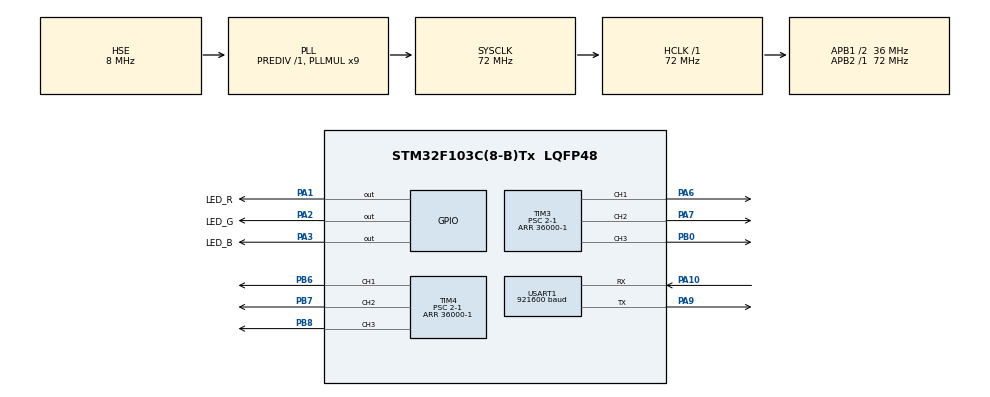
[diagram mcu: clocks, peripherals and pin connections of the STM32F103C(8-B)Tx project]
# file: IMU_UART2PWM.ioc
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Dma.Request0=USART1_RX
Dma.USART1_RX.0.Direction=DMA_PERIPH_TO_MEMORY
Dma.USART1_RX.0.Instance=DMA1_Channel5
Dma.USART1_RX.0.MemDataAlignment=DMA_MDATAALIGN_BYTE
Dma.USART1_RX.0.MemInc=DMA_MINC_ENABLE
Dma.USART1_RX.0.Mode=DMA_CIRCULAR
Dma.USART1_RX.0.PeriphDataAlignment=DMA_PDATAALIGN_BYTE
Dma.USART1_RX.0.PeriphInc=DMA_PINC_DISABLE
Dma.USART1_RX.0.Priority=DMA_PRIORITY_LOW
Mcu.Family=STM32F1
Mcu.Name=STM32F103C(8-B)Tx
Mcu.Package=LQFP48
NVIC.DMA1_Channel5_IRQn=true\:0\:0\:false\:false\:true\:false\:true\:true
NVIC.PriorityGroup=NVIC_PRIORITYGROUP_4
NVIC.TIM2_IRQn=true\:0\:0\:false\:false\:true\:true\:true\:true
PA1.GPIO_Label=LED_R
PA1.GPIO_Speed=GPIO_SPEED_FREQ_HIGH
PA1.PinState=GPIO_PIN_SET
PA1.Signal=GPIO_Output
PA10.Mode=Asynchronous
PA10.Signal=USART1_RX
PA13.Mode=Serial_Wire
PA13.Signal=SYS_JTMS-SWDIO
PA14.Mode=Serial_Wire
PA14.Signal=SYS_JTCK-SWCLK
PA2.GPIO_Label=LED_G
PA2.GPIO_Speed=GPIO_SPEED_FREQ_HIGH
PA2.PinState=GPIO_PIN_SET
PA2.Signal=GPIO_Output
PA3.GPIO_Label=LED_B
PA3.GPIO_Speed=GPIO_SPEED_FREQ_HIGH
PA3.PinState=GPIO_PIN_SET
PA3.Signal=GPIO_Output
PA6.Signal=S_TIM3_CH1
PA7.Signal=S_TIM3_CH2
PA9.Mode=Asynchronous
PA9.Signal=USART1_TX
PB0.Signal=S_TIM3_CH3
PB6.GPIO_ModeDefaultPP=GPIO_MODE_AF_PP
PB6.Signal=S_TIM4_CH1
PB7.Signal=S_TIM4_CH2
PB8.Signal=S_TIM4_CH3
PD0-OSC_IN.Mode=HSE-External-Oscillator
PD0-OSC_IN.Signal=RCC_OSC_IN
PD1-OSC_OUT.Mode=HSE-External-Oscillator
PD1-OSC_OUT.Signal=RCC_OSC_OUT
ProjectManager.HeapSize=0x200
ProjectManager.StackSize=0x400
ProjectManager.TargetToolchain=MDK-ARM V5.32
RCC.AHBFreq_Value=72000000
RCC.APB1CLKDivider=RCC_HCLK_DIV2
RCC.APB1Freq_Value=36000000
RCC.APB1TimFreq_Value=72000000
RCC.APB2Freq_Value=72000000
RCC.APB2TimFreq_Value=72000000
RCC.HCLKFreq_Value=72000000
RCC.PLLMUL=RCC_PLL_MUL9
RCC.PLLSourceVirtual=RCC_PLLSOURCE_HSE
RCC.SYSCLKFreq_VALUE=72000000
RCC.SYSCLKSource=RCC_SYSCLKSOURCE_PLLCLK
RCC.USBFreq_Value=72000000
SH.S_TIM3_CH1.0=TIM3_CH1,PWM Generation1 CH1
SH.S_TIM3_CH2.0=TIM3_CH2,PWM Generation2 CH2
SH.S_TIM3_CH3.0=TIM3_CH3,PWM Generation3 CH3
SH.S_TIM4_CH1.0=TIM4_CH1,PWM Generation1 CH1
SH.S_TIM4_CH2.0=TIM4_CH2,PWM Generation2 CH2
SH.S_TIM4_CH3.0=TIM4_CH3,PWM Generation3 CH3
TIM2.Period=1000-1
TIM2.Prescaler=72-1
TIM3.AutoReloadPreload=TIM_AUTORELOAD_PRELOAD_ENABLE
TIM3.Channel-PWM\ Generation1\ CH1=TIM_CHANNEL_1
TIM3.Channel-PWM\ Generation2\ CH2=TIM_CHANNEL_2
TIM3.Channel-PWM\ Generation3\ CH3=TIM_CHANNEL_3
TIM3.Period=36000-1
TIM3.Prescaler=2-1
TIM4.AutoReloadPreload=TIM_AUTORELOAD_PRELOAD_ENABLE
TIM4.Channel-PWM\ Generation1\ CH1=TIM_CHANNEL_1
TIM4.Channel-PWM\ Generation2\ CH2=TIM_CHANNEL_2
TIM4.Channel-PWM\ Generation3\ CH3=TIM_CHANNEL_3
TIM4.Period=36000-1
TIM4.Prescaler=2-1
USART1.BaudRate=921600
USART1.VirtualMode=VM_ASYNC
VP_TIM2_VS_ClockSourceINT.Mode=Internal
VP_TIM3_VS_ClockSourceINT.Mode=Internal
VP_TIM4_VS_ClockSourceINT.Mode=Internal
board=custom

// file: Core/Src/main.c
/* USER CODE BEGIN Header */
/**
 ******************************************************************************
 * @file           : main.c
 * @brief          : Main program body
 ******************************************************************************
 * @attention
 *
 * Copyright (c) 2026 STMicroelectronics.
 * All rights reserved.
 *
 * This software is licensed under terms that can be found in the LICENSE file
 * in the root directory of this software component.
 * If no LICENSE file comes with this software, it is provided AS-IS.
 *
 ******************************************************************************
 */
/* USER CODE END Header */
#include "main.h"
#include "dma.h"
#include "tim.h"
#include "usart.h"
#include "gpio.h"

/* USER CODE BEGIN Includes */
#include "imu_decode.h"
/* USER CODE END Includes */

/* USER CODE BEGIN PV */
#define RX_BUF_SIZE 1024     // ★ 512 -> 1024，1 ms 轮询下留足余量
uint8_t rx_buf[RX_BUF_SIZE]; // DMA 循环写入的缓冲区
uint16_t rx_read_pos = 0;    // ★ 已解码到的位置（上次解码结束处）

volatile uint32_t g_rx_lap = 0;     // ★ 环形缓冲走满一圈的次数
static uint32_t s_total_w_prev = 0; // ★ 上次轮询的绝对写入位置，用于发现溢出

imu_data_t g_imu = {0};            // 最新解出的一帧 IMU 数据
volatile uint8_t g_imu_ready = 0; // 新帧标志（1 = 有）
// LED状态
uint8_t LED_R_state = 0;
uint8_t LED_G_state = 1;
uint8_t LED_B_state = 0;
/* USER CODE END PV */

void SystemClock_Config(void);

int main(void)
{

  /* MCU Configuration--------------------------------------------------------*/

  /* Reset of all peripherals, Initializes the Flash interface and the Systick. */
  HAL_Init();

  /* Configure the system clock */
  SystemClock_Config();

  /* Initialize all configured peripherals */
  MX_GPIO_Init();
  MX_DMA_Init();
  MX_USART1_UART_Init();
  MX_TIM3_Init();
  MX_TIM2_Init();
  MX_TIM4_Init();
  /* USER CODE BEGIN 2 */
  HAL_TIM_Base_Start_IT(&htim2); // 开启定时器2
  // 开启PWM输出
  HAL_TIM_PWM_Start(&htim3, TIM_CHANNEL_1);
  HAL_TIM_PWM_Start(&htim3, TIM_CHANNEL_2);
  HAL_TIM_PWM_Start(&htim3, TIM_CHANNEL_3);

  HAL_TIM_PWM_Start(&htim4, TIM_CHANNEL_1);
  HAL_TIM_PWM_Start(&htim4, TIM_CHANNEL_2);
  HAL_TIM_PWM_Start(&htim4, TIM_CHANNEL_3);

  // 启动接收
  if (HAL_UART_Receive_DMA(&huart1, rx_buf, RX_BUF_SIZE) != HAL_OK)
  {
    Error_Handler();
  }
  /* USER CODE END 2 */

  /* Infinite loop */
  while (1)
  {

  }
}

void SystemClock_Config(void)
{
  RCC_OscInitTypeDef RCC_OscInitStruct = {0};
  RCC_ClkInitTypeDef RCC_ClkInitStruct = {0};

  /** Initializes the RCC Oscillators according to the specified parameters
  * in the RCC_OscInitTypeDef structure.
  */
  RCC_OscInitStruct.OscillatorType = RCC_OSCILLATORTYPE_HSE;
  RCC_OscInitStruct.HSEState = RCC_HSE_ON;
  RCC_OscInitStruct.HSEPredivValue = RCC_HSE_PREDIV_DIV1;
  RCC_OscInitStruct.HSIState = RCC_HSI_ON;
  RCC_OscInitStruct.PLL.PLLState = RCC_PLL_ON;
  RCC_OscInitStruct.PLL.PLLSource = RCC_PLLSOURCE_HSE;
  RCC_OscInitStruct.PLL.PLLMUL = RCC_PLL_MUL9;
  if (HAL_RCC_OscConfig(&RCC_OscInitStruct) != HAL_OK)
  {
    Error_Handler();
  }

  /** Initializes the CPU, AHB and APB buses clocks
  */
  RCC_ClkInitStruct.ClockType = RCC_CLOCKTYPE_HCLK|RCC_CLOCKTYPE_SYSCLK
                              |RCC_CLOCKTYPE_PCLK1|RCC_CLOCKTYPE_PCLK2;
  RCC_ClkInitStruct.SYSCLKSource = RCC_SYSCLKSOURCE_PLLCLK;
  RCC_ClkInitStruct.AHBCLKDivider = RCC_SYSCLK_DIV1;
  RCC_ClkInitStruct.APB1CLKDivider = RCC_HCLK_DIV2;
  RCC_ClkInitStruct.APB2CLKDivider = RCC_HCLK_DIV1;

  if (HAL_RCC_ClockConfig(&RCC_ClkInitStruct, FLASH_LATENCY_2) != HAL_OK)
  {
    Error_Handler();
  }
}

/* USER CODE BEGIN 4 */
imu_data_t imu_data = {0};
uint16_t rx_ok_n = 0;

// 循环模式下 DMA 每走满一整圈触发一次
void HAL_UART_RxCpltCallback(UART_HandleTypeDef *huart)
{
  if (huart->Instance == USART1)
  {
    g_rx_lap++;
  }
}
// LED处理函数
void LED_Process(){
  rx_ok_n = get_receive_ok_count();
  clear_receive_count();
  if (LED_B_state == 0)
  {
    HAL_GPIO_WritePin(LED_R_GPIO_Port, LED_B_Pin, GPIO_PIN_RESET);
    LED_B_state = 1;
  }
  else
  {
    HAL_GPIO_WritePin(LED_R_GPIO_Port, LED_B_Pin, GPIO_PIN_SET);
    LED_B_state = 0;
  }
  if (LED_G_state == 0)
  {
    HAL_GPIO_WritePin(LED_G_GPIO_Port, LED_G_Pin, GPIO_PIN_RESET);
    LED_G_state = 1;
  }
  else
  {
    HAL_GPIO_WritePin(LED_G_GPIO_Port, LED_G_Pin, GPIO_PIN_SET);
    LED_G_state = 0;
  }
}
//IMU 数据转化到PWM
void IMU2PWM(){
  uint32_t lap;
  uint16_t wpos;
  uint32_t total_w;

  // 取 DMA 写指针；和 lap 一起读，避免刚好绕圈时读数不一致
  do
  {
    lap = g_rx_lap;
    wpos = imu_dma_write_pos((uint16_t)__HAL_DMA_GET_COUNTER(&hdma_usart1_rx),
                             RX_BUF_SIZE);
  } while (lap != g_rx_lap);

  // 溢出检测：两轮之间 DMA 前进超过一整圈，说明未读数据已被覆盖
  total_w = lap * (uint32_t)RX_BUF_SIZE + wpos;
  if ((total_w - s_total_w_prev) > (uint32_t)RX_BUF_SIZE)
  {
    g_imu_rx_stat.overrun++;
    rx_read_pos = wpos; //旧数据不可信，从当前写指针重新同步
  }
  s_total_w_prev = total_w;

  // 只解码 [rx_read_pos, wpos) 这段新数据，窗口内所有整帧一次解完
  if (imu_decode_poll(rx_buf, RX_BUF_SIZE, &rx_read_pos, wpos, &imu_data) > 0)
  {
    __HAL_TIM_SET_COMPARE(&htim3, TIM_CHANNEL_1,
                          (uint16_t)((imu_data.gyr[0] + MAX_GYR) * ((htim3.Init.Period + 1) / (2 * MAX_GYR))));
    __HAL_TIM_SET_COMPARE(&htim3, TIM_CHANNEL_2,
                          (uint16_t)((imu_data.gyr[1] + MAX_GYR) * ((htim3.Init.Period + 1) / (2 * MAX_GYR))));
    __HAL_TIM_SET_COMPARE(&htim3, TIM_CHANNEL_3,
                          (uint16_t)((imu_data.gyr[2] + MAX_GYR) * ((htim3.Init.Period + 1) / (2 * MAX_GYR))));
    __HAL_TIM_SET_COMPARE(&htim4, TIM_CHANNEL_1,
                          (uint16_t)((imu_data.acc[0] + MAX_ACC) * ((htim4.Init.Period + 1) / (2 * MAX_ACC))));
    __HAL_TIM_SET_COMPARE(&htim4, TIM_CHANNEL_2,
                          (uint16_t)((imu_data.acc[1] + MAX_ACC) * ((htim4.Init.Period + 1) / (2 * MAX_ACC))));
    __HAL_TIM_SET_COMPARE(&htim4, TIM_CHANNEL_3,
                          (uint16_t)((imu_data.acc[2] + MAX_ACC) * ((htim4.Init.Period + 1) / (2 * MAX_ACC))));
  }
}
// 定时器2计数
uint16_t tim2_count = 0;
void HAL_TIM_PeriodElapsedCallback(TIM_HandleTypeDef *htim)
{
  if (htim->Instance == TIM2)
  {
    tim2_count = (tim2_count + 1) % 1000;
    if (tim2_count == 0){
      LED_Process();
    }
    IMU2PWM();
  }
}
/* USER CODE END 4 */

void Error_Handler(void)
{
  __disable_irq();
  while (1)
  {
  }
}
